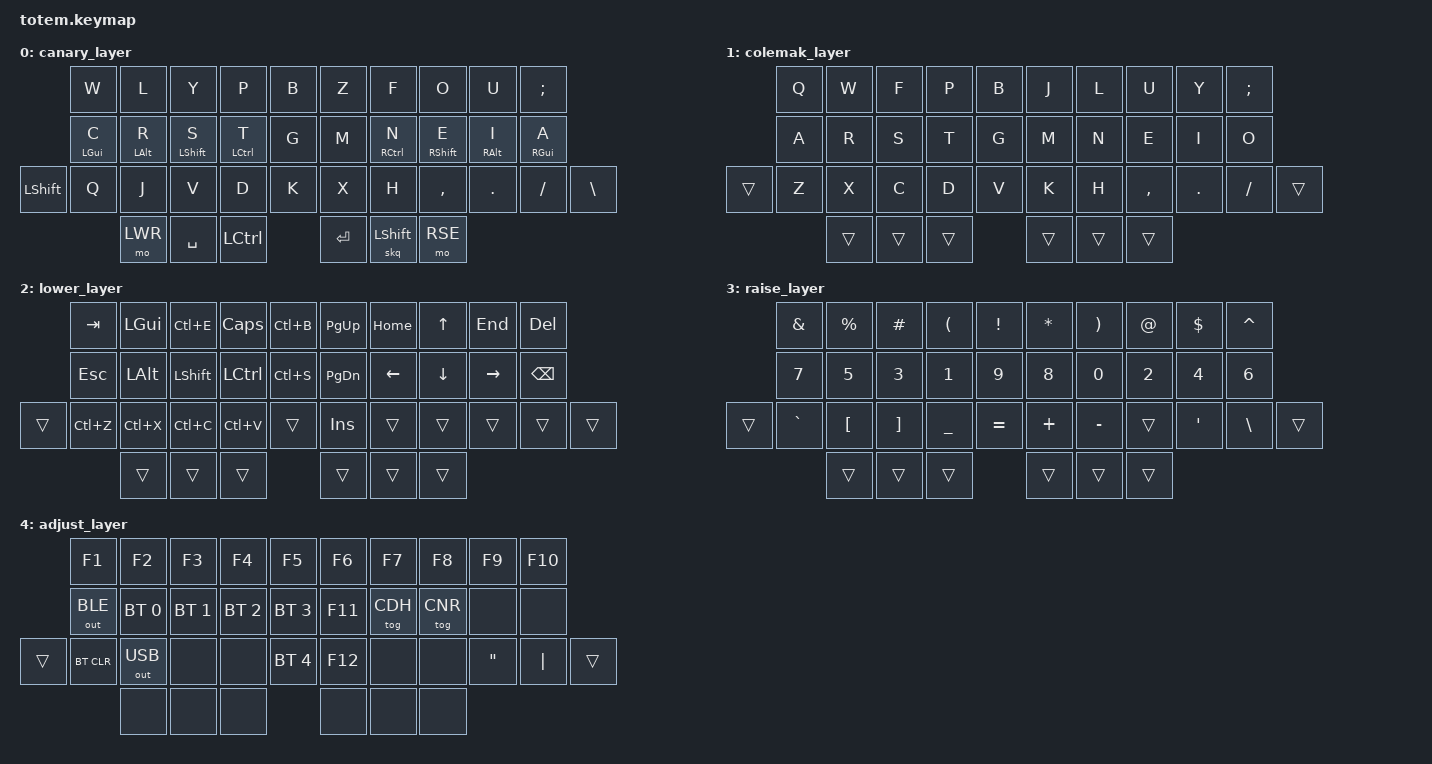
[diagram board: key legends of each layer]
//
//                                                        ▀▀▀▀▀     ▀▀▀▀▀          ▀▀█▀▀
//                                                        ▄▀▀▀▄  ▄  ▄▀▀▀▄  ▄  ▄▀▀▀▄  █  ▄▀▀▀▄
//                                                        █   █  █  █   █  █  █   █  █  █   █
//                                                         ▀▀▀   █   ▀▀▀   █   ▀▀▀   ▀   ▀▀▀
//                                                               █      ▄▄▄█▄▄▄    █   █  
//                                                               ▀      █  █  █     █▄█
//                                                             ▀▀▀▀▀    █  █  █      ▀
//                                                                      ▀  ▀  ▀
//
// ▄▄▄▄▄▄▄▄▄▄▄▄▄▄▄▄▄▄▄▄▄▄▄▄▄▄▄▄▄▄▄▄▄▄▄▄▄▄▄▄▄▄▄▄▄▄▄▄▄▄▄▄▄▄▄▄▄▄▄▄▄▄▄▄▄▄▄▄▄▄▄▄▄▄▄▄▄▄▄▄▄▄▄▄▄▄▄▄▄▄▄▄▄▄▄▄▄▄▄▄▄▄▄▄▄▄▄▄▄▄▄▄▄▄▄▄▄▄▄▄▄▄▄▄▄▄▄▄▄▄▄▄▄▄▄▄▄▄▄▄▄▄▄▄▄▄▄▄▄
       

#include <behaviors.dtsi>
#include <dt-bindings/zmk/keys.h>
#include <dt-bindings/zmk/bt.h>
#include <dt-bindings/zmk/outputs.h>

#define CNR 0
#define CDH 1
#define LWR 2
#define RSE 3
#define ADJ 4

&mt {
  quick-tap-ms = <100>;
  global-quick-tap;
  flavor = "tap-preferred";
  tapping-term-ms = <170>;
};

/ {
  behaviors {
    skq: sticky_key_quick_release {
		compatible = "zmk,behavior-sticky-key";
		label = "STICKY_KEY_QUICK_RELEASE";
		#binding-cells = <1>;
		bindings = <&kp>;
		release-after-ms = <500>;
		quick-release;
    };
  };

    conditional_layers {
        compatible = "zmk,conditional-layers";
        tri_layer {
            if-layers = <2 3>;
            then-layer = <4>;
        };
    };

        keymap {
                compatible = "zmk,keymap";
				
        canary_layer {
            bindings = <
                &kp W       &kp L       &kp Y       &kp P       &kp B                 &kp Z  &kp F       &kp O       &kp U       &kp SEMI
                &mt LGUI C  &mt LALT R  &mt LSHFT S &mt LCTRL T &kp G                 &kp M  &mt RCTRL N &mt RSHFT E &mt RALT I  &mt RGUI A
     &kp LSHFT  &kp Q       &kp J       &kp V       &kp D       &kp K                 &kp X  &kp H       &kp COMMA   &kp DOT     &kp FSLH &kp BSLH
                               &mo LWR &kp SPACE &kp LCTRL                  &kp RET &skq LSHFT &mo RSE
            >;
        };

        colemak_layer {
            bindings = <
                &kp Q  &kp W   &kp F  &kp P  &kp B                                  &kp J  &kp L  &kp U     &kp Y   &kp SEMI
                &kp A  &kp R   &kp S  &kp T  &kp G                                  &kp M  &kp N  &kp E     &kp I   &kp O
        &trans  &kp Z  &kp X   &kp C  &kp D  &kp V                                  &kp K  &kp H  &kp COMMA &kp DOT &kp FSLH &trans 
                               &trans    &trans    &trans                     &trans    &trans    &trans
            >;
        };

        lower_layer {
            bindings = <
                &kp TAB   &kp LGUI  &kp LC(E) &kp CAPS  &kp LC(B)                   &kp PG_UP &kp HOME  &kp UP    &kp END   &kp DEL
                &kp ESC   &kp LALT  &kp LSHFT &kp LCTRL &kp LC(S)                   &kp PG_DN &kp LEFT  &kp DOWN  &kp RIGHT &kp BSPC
        &trans  &kp LC(Z) &kp LC(X) &kp LC(C) &kp LC(V) &trans                      &kp INS   &trans    &trans    &trans    &trans  &trans
                                    &trans    &trans    &trans                      &trans    &trans    &trans
            >;
        };

        raise_layer {
            bindings = <
				&kp AMPS  &kp PRCNT &kp HASH   &kp LPAR  &kp EXCL                   &kp ASTRK &kp RPAR  &kp AT    &kp DLLR  &kp CARET
				&kp N7    &kp N5    &kp N3     &kp N1    &kp N9                     &kp N8    &kp N0    &kp N2    &kp N4    &kp N6
		&trans  &kp GRAVE &kp LBKT  &kp RBKT   &kp UNDER &kp EQUAL                  &kp PLUS  &kp MINUS &trans    &kp SQT   &kp BSLH  &trans
									&trans     &trans    &trans                     &trans    &trans    &trans
            >;
        };

        adjust_layer {
            bindings = <
				&kp F1        &kp F2       &kp F3       &kp F4        &kp F5                        &kp F6  &kp F7   &kp F8   &kp F9   &kp F10
				&out OUT_BLE  &bt BT_SEL 0 &bt BT_SEL 1 &bt BT_SEL 2  &bt BT_SEL 3                  &kp F11 &tog CDH &tog CNR &none    &none
		&trans	&bt BT_CLR    &out OUT_USB &none        &none         &bt BT_SEL 4                  &kp F12 &none    &none    &kp DQT  &kp PIPE &trans
										   &none        &none         &none                         &none   &none    &none 
            >;
        };
    };
};

